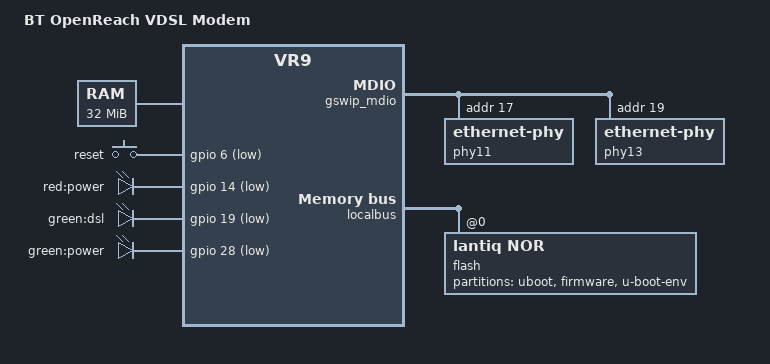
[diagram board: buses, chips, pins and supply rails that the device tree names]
#include "vr9.dtsi"

#include <dt-bindings/input/input.h>
#include <dt-bindings/mips/lantiq_rcu_gphy.h>

/ {
	compatible = "arcadyan,vg3503j", "lantiq,xway", "lantiq,vr9";
	model = "BT OpenReach VDSL Modem";

	chosen {
		bootargs = "console=ttyLTQ0,115200";
	};

	aliases {
		led-boot = &power_green;
		led-failsafe = &power_red;
		led-running = &power_green;
		led-upgrade = &power_green;

		led-dsl = &dsl;
	};

	memory@0 {
		device_type = "memory";
		reg = <0x0 0x2000000>;
	};

	keys {
		compatible = "gpio-keys-polled";
		poll-interval = <100>;
		reset {
			label = "reset";
			gpios = <&gpio 6 GPIO_ACTIVE_LOW>;
			linux,code = <KEY_RESTART>;
		};
	};

	leds {
		compatible = "gpio-leds";

		power_red: power2 {
			label = "red:power";
			gpios = <&gpio 14 GPIO_ACTIVE_LOW>;
		};
		dsl: dsl {
			label = "green:dsl";
			gpios = <&gpio 19 GPIO_ACTIVE_LOW>;
		};
		power_green: power {
			label = "green:power";
			gpios = <&gpio 28 GPIO_ACTIVE_LOW>;
			default-state = "keep";
		};
	};
};

&gphy0 {
	lantiq,gphy-mode = <GPHY_MODE_GE>;
};

&gphy1 {
	lantiq,gphy-mode = <GPHY_MODE_GE>;
};

&gswip {
	pinctrl-0 = <&gphy0_led0_pins>, <&gphy0_led1_pins>, <&gphy0_led2_pins>,
		    <&gphy1_led0_pins>, <&gphy1_led1_pins>, <&gphy1_led2_pins>;
	pinctrl-names = "default";
};

&gswip_mdio {
	phy11: ethernet-phy@11 {
		reg = <0x11>;
		lantiq,led1h = <0x70>;
		lantiq,led1l = <0x00>;
		lantiq,led2h = <0x00>;
		lantiq,led2l = <0x03>;
	};
	phy13: ethernet-phy@13 {
		reg = <0x13>;
		lantiq,led1h = <0x70>;
		lantiq,led1l = <0x00>;
		lantiq,led2h = <0x00>;
		lantiq,led2l = <0x03>;
	};
};

&gswip_ports {
	port@2 {
		reg = <2>;
		label = "lan2";
		phy-mode = "internal";
		phy-handle = <&phy11>;
	};
	port@4 {
		reg = <4>;
		label = "lan1";
		phy-mode = "internal";
		phy-handle = <&phy13>;
	};
};

&localbus {
	flash@0 {
		compatible = "lantiq,nor";
		bank-width = <2>;
		reg = <0 0x0 0x2000000>;

		partitions {
			compatible = "fixed-partitions";
			#address-cells = <1>;
			#size-cells = <1>;

			partition@0 {
				label = "uboot";
				reg = <0x00000 0x20000>;
			};

			partition@20000 {
				label = "firmware";
				reg = <0x20000 0x7d0000>;
			};

			partition@7f0000 {
				label = "u-boot-env";
				reg = <0x7f0000 0x10000>;
			};
		};
	};
};
